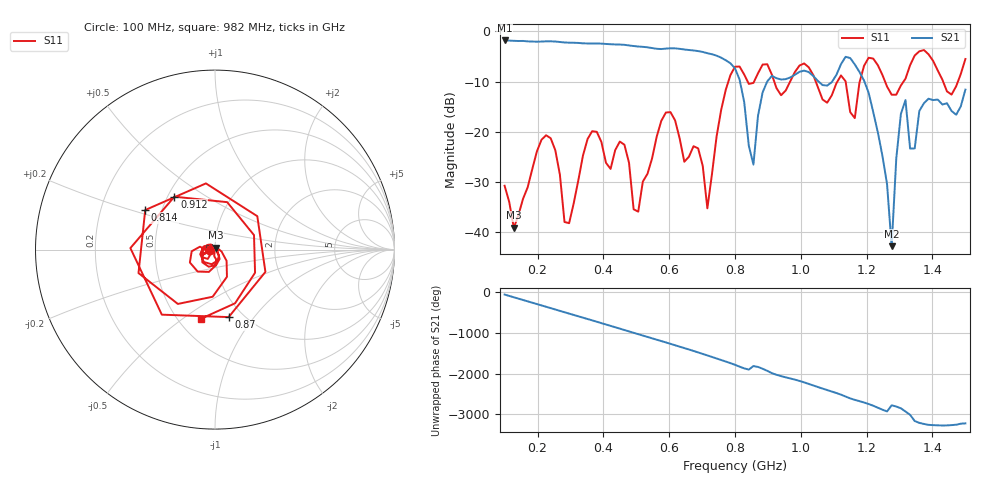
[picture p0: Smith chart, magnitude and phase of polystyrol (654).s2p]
! NanoVNA-App
! Date: 2025-09-25 15:34:58
! Start: 100MHz Stop: 1,5GHz Points: 101
! S-Parameter data: F S11 S21 S12 S22
# Hz S RI R 50
!  Frequency  S11_Real  S11_Imag  S21_Real  S21_Imag  S12_Real  S12_Imag  S22_Real  S22_Imag
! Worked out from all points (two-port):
!   101 points, 100 MHz to 1.5 GHz, reference 50 ohm
!   highest |S21| = -1.80 dB at 100 MHz (marker M1); lowest = -42.7 dB at 1.276 GHz (marker M2)
!   |S21| within 3 dB of the highest: start of sweep to 742.8 MHz
!   lowest |S11| = -39.1 dB at 128 MHz (marker M3), VSWR 1.02, Z = 50.3 + j1.06 ohm
!   |S11| at or under -10 dB: start of sweep to 779.8 MHz; 1.045 GHz to 1.111 GHz (65.48 MHz wide, 6.07 % of centre); 1.256 GHz to 1.312 GHz (55.86 MHz wide, 4.35 % of centre)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
!   S12 and S22 are empty: the file has one direction only
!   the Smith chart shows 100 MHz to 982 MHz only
!   S11 on the Smith chart (normalised r, x): 100 MHz: 0.94, -0.01; 814 MHz: 0.40, +0.22; 870 MHz: 0.86, -0.76; 912 MHz: 0.54, +0.37; 982 MHz: 0.64, -0.59
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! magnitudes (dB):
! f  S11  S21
! 100 MHz  -30.7  -1.8
! 128 MHz  -39.1  -1.9
! 212 MHz  -21.6  -2.0
! 282 MHz  -37.9  -2.2
! 338 MHz  -24.7  -2.4
! 464 MHz  -22.6  -2.7
! 506 MHz  -35.9  -3.0
! 576 MHz  -17.8  -3.5
! 716 MHz  -35.2  -4.3
! 800 MHz  -7.0  -7.3
! 814 MHz  -7.0  -9.6
! 856 MHz  -10.3  -26.5
! 870 MHz  -8.3  -16.7
! 912 MHz  -8.6  -8.8
! 982 MHz  -8.1  -8.6
! 1.038 GHz  -8.7  -8.9
! 1.164 GHz  -17.2  -6.6
! 1.192 GHz  -6.9  -9.8
! 1.276 GHz  -12.6  -42.7
! 1.318 GHz  -9.4  -13.7
! 1.346 GHz  -4.8  -23.3
! 1.5 GHz  -5.5  -11.6
